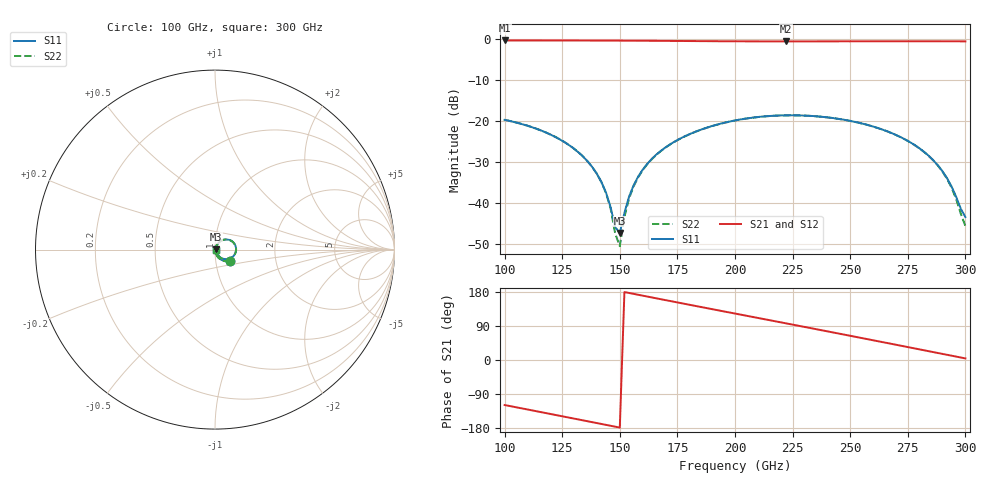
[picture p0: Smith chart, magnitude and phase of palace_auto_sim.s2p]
#  GHZ S DB R 50
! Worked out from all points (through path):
!   101 points, 100 GHz to 300 GHz, reference 50 ohm
!   highest |S21| = -0.40 dB at 100 GHz (marker M1); lowest = -0.6 dB at 222 GHz (marker M2)
!   group delay of S21, straight-line fit = 3.28 ps
!   lowest |S11| = -47.2 dB at 150 GHz (marker M3), VSWR 1.01, Z = 50.4 + j0.142 ohm
!   |S11| at or under -10 dB: start of sweep to end of sweep
!   |S22| runs from -50.4 to -18.6 dB; largest |S21 - S12| = 1.1e-14
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100  -19.71 -36.1  -0.40 -118.8  -0.40 -118.8  -19.69 -36.8
120  -23.31 -57.0  -0.40 -142.5  -0.40 -142.5  -23.29 -58.3
134  -28.61 -69.7  -0.41 -159.2  -0.41 -159.2  -28.58 -72.1
140  -32.79 -72.4  -0.42 -166.4  -0.42 -166.4  -32.78 -76.2
144  -37.38 -69.6  -0.43 -171.2  -0.43 -171.2  -37.48 -75.9
146  -40.92 -62.6  -0.43 -173.6  -0.43 -173.6  -41.25 -71.8
148  -45.79 -39.7  -0.44 -176.0  -0.44 -176.0  -47.36 -53.9
150  -47.21 18.8  -0.44 -178.3  -0.44 -178.3  -50.42 25.2
152  -42.33 52.4  -0.44 179.3  -0.44 179.3  -43.31 61.2
156  -35.61 65.8  -0.45 174.5  -0.45 174.5  -35.86 70.1
162  -30.34 65.7  -0.47 167.4  -0.47 167.4  -30.43 67.9
168  -27.15 61.5  -0.49 160.2  -0.49 160.2  -27.21 62.9
182  -22.77 48.5  -0.55 143.7  -0.55 143.7  -22.80 49.1
200  -19.85 29.4  -0.60 122.6  -0.60 122.6  -19.86 29.5
222  -18.60 4.2  -0.62 96.9  -0.62 96.9  -18.61 4.0
234  -18.78 -9.5  -0.62 82.8  -0.62 82.8  -18.79 -9.9
250  -19.96 -27.5  -0.61 63.9  -0.61 63.9  -19.96 -28.2
268  -22.92 -46.7  -0.60 42.5  -0.60 42.5  -22.93 -47.8
280  -26.60 -57.6  -0.60 28.1  -0.60 28.1  -26.63 -59.5
288  -30.71 -61.7  -0.60 18.5  -0.60 18.5  -30.79 -64.7
294  -35.91 -57.0  -0.60 11.4  -0.60 11.4  -36.20 -62.3
300  -43.34 -4.4  -0.61 4.2  -0.61 4.2  -45.55 -6.9
